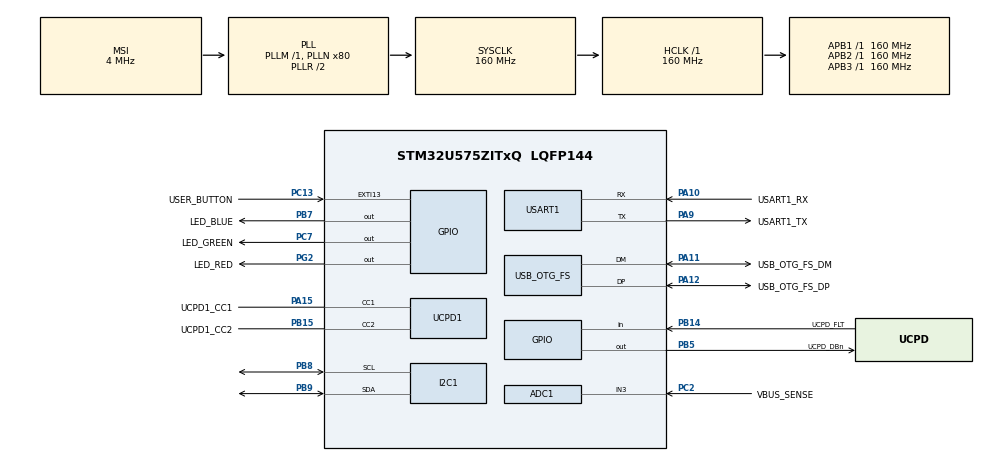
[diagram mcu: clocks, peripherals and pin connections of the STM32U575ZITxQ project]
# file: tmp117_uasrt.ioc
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ADC1.NbrOfConversion=1
ADC1.Resolution=ADC_RESOLUTION_14B
ADC1.master=1
CORTEX_M33_NS.userName=CORTEX_M33
I2C1.Timing=0x30909DEC
Mcu.Family=STM32U5
Mcu.Name=STM32U575ZITxQ
Mcu.Package=LQFP144
NVIC.OTG_FS_IRQn=true\:0\:0\:false\:false\:true\:true\:true\:true
NVIC.PriorityGroup=NVIC_PRIORITYGROUP_3
PA10.GPIO_Label=USART1_RX
PA10.GPIO_PuPd=GPIO_PULLDOWN
PA10.GPIO_Speed=GPIO_SPEED_FREQ_VERY_HIGH
PA10.Mode=Asynchronous
PA10.Signal=USART1_RX
PA11.GPIO_Label=USB_OTG_FS_DM
PA11.GPIO_Speed=GPIO_SPEED_FREQ_VERY_HIGH
PA11.Mode=Device_Only
PA11.Signal=USB_OTG_FS_DM
PA12.GPIO_Label=USB_OTG_FS_DP
PA12.GPIO_Speed=GPIO_SPEED_FREQ_VERY_HIGH
PA12.Mode=Device_Only
PA12.Signal=USB_OTG_FS_DP
PA13\ (JTMS/SWDIO).Mode=Trace_Asynchronous_SW
PA13\ (JTMS/SWDIO).Signal=DEBUG_JTMS-SWDIO
PA14\ (JTCK/SWCLK).Mode=Trace_Asynchronous_SW
PA14\ (JTCK/SWCLK).Signal=DEBUG_JTCK-SWCLK
PA15\ (JTDI).GPIO_Label=UCPD1_CC1
PA15\ (JTDI).Mode=Sink_AllSignals
PA15\ (JTDI).Signal=UCPD1_CC1
PA9.GPIO_Label=USART1_TX
PA9.GPIO_PuPd=GPIO_PULLDOWN
PA9.GPIO_Speed=GPIO_SPEED_FREQ_VERY_HIGH
PA9.Mode=Asynchronous
PA9.Signal=USART1_TX
PB14.GPIO_Label=UCPD_FLT
PB14.Signal=GPIO_Input
PB15.GPIO_Label=UCPD1_CC2
PB15.Mode=Sink_AllSignals
PB15.Signal=UCPD1_CC2
PB3\ (JTDO/TRACESWO).Mode=Trace_Asynchronous_SW
PB3\ (JTDO/TRACESWO).Signal=DEBUG_JTDO-SWO
PB5.GPIO_Label=UCPD_DBn
PB5.Signal=GPIO_Output
PB7.GPIO_Label=LED_BLUE
PB7.GPIO_ModeDefaultOutputPP=GPIO_MODE_OUTPUT_PP
PB7.GPIO_PuPd=GPIO_PULLUP
PB7.GPIO_Speed=GPIO_SPEED_FREQ_HIGH
PB7.Signal=GPIO_Output
PB8.Mode=I2C
PB8.Signal=I2C1_SCL
PB9.Mode=I2C
PB9.Signal=I2C1_SDA
PC13.GPIO_Label=USER_BUTTON
PC13.GPIO_ModeDefaultEXTI=GPIO_MODE_IT_FALLING
PC13.Signal=GPXTI13
PC14-OSC32_IN\ (PC14).Mode=LSE-External-Oscillator
PC14-OSC32_IN\ (PC14).Signal=RCC_OSC32_IN
PC15-OSC32_OUT\ (PC15).Mode=LSE-External-Oscillator
PC15-OSC32_OUT\ (PC15).Signal=RCC_OSC32_OUT
PC2.GPIO_Label=VBUS_SENSE
PC2.Mode=IN3-Single-Ended
PC2.Signal=ADC1_IN3
PC7.GPIO_Label=LED_GREEN
PC7.GPIO_PuPd=GPIO_PULLUP
PC7.GPIO_Speed=GPIO_SPEED_FREQ_HIGH
PC7.Signal=GPIO_Output
PG2.GPIO_Label=LED_RED
PG2.GPIO_ModeDefaultOutputPP=GPIO_MODE_OUTPUT_PP
PG2.GPIO_PuPd=GPIO_PULLUP
PG2.GPIO_Speed=GPIO_SPEED_FREQ_HIGH
PG2.Signal=GPIO_Output
PWR.PowerMode=PWR_SMPS_SUPPLY
ProjectManager.HeapSize=0x200
ProjectManager.StackSize=0x400
ProjectManager.TargetToolchain=STM32CubeIDE
RCC.ADCFreq_Value=16000000
RCC.AHBFreq_Value=160000000
RCC.APB1Freq_Value=160000000
RCC.APB1TimFreq_Value=160000000
RCC.APB2Freq_Value=160000000
RCC.APB2TimFreq_Value=160000000
RCC.APB3Freq_Value=160000000
RCC.CortexFreq_Value=160000000
RCC.DACCLockSelectionVirtual=RCC_DAC1CLKSOURCE_LSI
RCC.EPOD_VALUE=4000000
RCC.HCLKFreq_Value=160000000
RCC.HSE_VALUE=16000000
RCC.HSI48_VALUE=48000000
RCC.HSI_VALUE=16000000
RCC.LSIDIV_VALUE=32000
RCC.MSI_VALUE=4000000
RCC.PLLN=80
RCC.SYSCLKFreq_VALUE=160000000
RCC.SYSCLKSource=RCC_SYSCLKSOURCE_PLLCLK
RCC.USBFreq_Value=48000000
RCC.VCOOutputFreq_Value=320000000
USART1.VirtualMode-Asynchronous=VM_ASYNC
USB_OTG_FS.VirtualMode=Device_Only
VP_ICACHE_VS_ENABLE_ICACHE_MEMORY.Mode=Memoryregions
VP_ICACHE_VS_ICACHE.Mode=DirectMappedCache
VP_LPBAMQUEUE_VS_QUEUE.Mode=QUEUEMODE
VP_LPBAM_VS_SIG1.Mode=SmartRun
VP_LPBAM_VS_SIG4.Mode=LPDMA1
VP_MEMORYMAP_VS_MEMORYMAP.Mode=CurAppReg
VP_PWR_VS_DBSignals.Mode=DisableDeadBatterySignals
VP_PWR_VS_LPOM.Mode=PowerOptimisation
VP_PWR_VS_SECSignals.Mode=Security/Privilege
VP_PWR_Vdda.Mode=isolationVdda
board=NUCLEO-U575ZI-Q

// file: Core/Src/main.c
/* USER CODE BEGIN Header */
/**
  ******************************************************************************
  * @file           : main.c
  * @brief          : Main program body
  ******************************************************************************
  * @attention
  *
  * Copyright (c) 2024 STMicroelectronics.
  * All rights reserved.
  *
  * This software is licensed under terms that can be found in the LICENSE file
  * in the root directory of this software component.
  * If no LICENSE file comes with this software, it is provided AS-IS.
  *
  ******************************************************************************
  */
/* USER CODE END Header */
#include "main.h"
#include "adc.h"
#include "i2c.h"
#include "icache.h"
#include "memorymap.h"
#include "ucpd.h"
#include "usart.h"
#include "usb_otg.h"
#include "gpio.h"

/* USER CODE BEGIN Includes */
#include<stdio.h>
#include<string.h>
/* USER CODE END Includes */

/* USER CODE BEGIN PV */
static const uint8_t TEMPI2C_add = 0x48<<1;//100100x as mentioned in temp datasheet//shifted by 1 for sending last bit 0//read
static const uint8_t REG_temp = 0x00;
/* USER CODE END PV */

void SystemClock_Config(void);
static void SystemPower_Config(void);

int main(void)
{

  /* USER CODE BEGIN 1 */
	//initializing variables for receiving temp data
		//array buffer
		uint8_t buf[16];//for receiving temp data 16 bits as the receiving data is pf size  byte
		uint16_t val;//final data is of 2 bytes
		float temp_c;//for storing the final temp results
		HAL_StatusTypeDef ret;// inbulit HAL status return for I2C status
  /* USER CODE END 1 */

  /* MCU Configuration--------------------------------------------------------*/

  /* Reset of all peripherals, Initializes the Flash interface and the Systick. */
  HAL_Init();

  /* Configure the system clock */
  SystemClock_Config();

  /* Configure the System Power */
  SystemPower_Config();

  /* Initialize all configured peripherals */
  MX_GPIO_Init();
  MX_ADC1_Init();
  MX_ICACHE_Init();
  MX_UCPD1_Init();
  MX_USART1_UART_Init();
  MX_USB_OTG_FS_PCD_Init();
  MX_I2C1_Init();

  /* Infinite loop */
  /* USER CODE BEGIN WHILE */
  while (1)
  {
	  //step1 - i2C sending 0x00
	  	  buf[0]= REG_temp;//read instruction
	  	  ret = HAL_I2C_Master_Transmit(&hi2c1,TEMPI2C_add,buf,1,1000); //I2C init for transmitting data;
	  	  if(ret != HAL_OK)//checking if I2C transmit is done without error
	  	  {
	  		  strcpy((char*)buf,"ERROR_TX\r\n");//filling buf with error message
	  	  }
	  	  else{
	  	  ret = HAL_I2C_Master_Receive(&hi2c1,TEMPI2C_add,buf,2,HAL_MAX_DELAY); //I2C init for receiving data//2 byte of expected as per datasheet
	  	  if(ret != HAL_OK)//checking if I2C transmit is done without error
	  	 	  {
	  	 		  strcpy((char*)buf,"ERROR_RX\r\n");//filling buf with error message
	  	 	  }
	  	  else{
	  		  //processing received data into a single readable value
	  		  //typecasting to 16 bit int data
	  		 val = (uint16_t)(buf[0] << 8 | buf[1]);//val is a 16 bit data //thus shifting the buf value into val by shift opertion

	  		  //convertinf 2'complement value ,is temperature data is negative
	  		  if(val > 0x7FFF){
	  			  val |= 0xF000;
	  		  }
	  		  	//converting to float celcius value
	  		  	 temp_c = val * 0.0078125;//as mentioned in datasheet for convertion

	  		  	 //converting temp into decimal format
	  		  	temp_c =temp_c*100;//removing float point space
	  		  	 sprintf((char*)buf,"%u.%02u C\r\n",((unsigned int)temp_c / 100),((unsigned int)temp_c % 100));//copying the values of temp in buf to print in UART
	  		  	 //temp_c/100 gives quoficient of temp anad modulo gives the remainder ex. 22.34 C as output print
	  	  }

	  	  }
	  	  HAL_UART_Transmit(&huart1,buf,strlen((char*)buf),HAL_MAX_DELAY);//sending data through usart3 connected to serial in nucleo board
	  	  //delay before proceeding to next operation
	  	  HAL_Delay(500);

    /* USER CODE END WHILE */

  }
}

void SystemClock_Config(void)
{
  RCC_OscInitTypeDef RCC_OscInitStruct = {0};
  RCC_ClkInitTypeDef RCC_ClkInitStruct = {0};

  /** Configure the main internal regulator output voltage
  */
  if (HAL_PWREx_ControlVoltageScaling(PWR_REGULATOR_VOLTAGE_SCALE1) != HAL_OK)
  {
    Error_Handler();
  }

  /** Initializes the CPU, AHB and APB buses clocks
  */
  RCC_OscInitStruct.OscillatorType = RCC_OSCILLATORTYPE_HSI48|RCC_OSCILLATORTYPE_HSI
                              |RCC_OSCILLATORTYPE_MSI;
  RCC_OscInitStruct.HSIState = RCC_HSI_ON;
  RCC_OscInitStruct.HSI48State = RCC_HSI48_ON;
  RCC_OscInitStruct.HSICalibrationValue = RCC_HSICALIBRATION_DEFAULT;
  RCC_OscInitStruct.MSIState = RCC_MSI_ON;
  RCC_OscInitStruct.MSICalibrationValue = RCC_MSICALIBRATION_DEFAULT;
  RCC_OscInitStruct.MSIClockRange = RCC_MSIRANGE_4;
  RCC_OscInitStruct.PLL.PLLState = RCC_PLL_ON;
  RCC_OscInitStruct.PLL.PLLSource = RCC_PLLSOURCE_MSI;
  RCC_OscInitStruct.PLL.PLLMBOOST = RCC_PLLMBOOST_DIV1;
  RCC_OscInitStruct.PLL.PLLM = 1;
  RCC_OscInitStruct.PLL.PLLN = 80;
  RCC_OscInitStruct.PLL.PLLP = 2;
  RCC_OscInitStruct.PLL.PLLQ = 2;
  RCC_OscInitStruct.PLL.PLLR = 2;
  RCC_OscInitStruct.PLL.PLLRGE = RCC_PLLVCIRANGE_0;
  RCC_OscInitStruct.PLL.PLLFRACN = 0;
  if (HAL_RCC_OscConfig(&RCC_OscInitStruct) != HAL_OK)
  {
    Error_Handler();
  }

  /** Initializes the CPU, AHB and APB buses clocks
  */
  RCC_ClkInitStruct.ClockType = RCC_CLOCKTYPE_HCLK|RCC_CLOCKTYPE_SYSCLK
                              |RCC_CLOCKTYPE_PCLK1|RCC_CLOCKTYPE_PCLK2
                              |RCC_CLOCKTYPE_PCLK3;
  RCC_ClkInitStruct.SYSCLKSource = RCC_SYSCLKSOURCE_PLLCLK;
  RCC_ClkInitStruct.AHBCLKDivider = RCC_SYSCLK_DIV1;
  RCC_ClkInitStruct.APB1CLKDivider = RCC_HCLK_DIV1;
  RCC_ClkInitStruct.APB2CLKDivider = RCC_HCLK_DIV1;
  RCC_ClkInitStruct.APB3CLKDivider = RCC_HCLK_DIV1;

  if (HAL_RCC_ClockConfig(&RCC_ClkInitStruct, FLASH_LATENCY_4) != HAL_OK)
  {
    Error_Handler();
  }
}

/**
  * @brief Power Configuration
  * @retval None
  */
static void SystemPower_Config(void)
{
  HAL_PWREx_EnableVddIO2();

  /*
   * Switch to SMPS regulator instead of LDO
   */
  if (HAL_PWREx_ConfigSupply(PWR_SMPS_SUPPLY) != HAL_OK)
  {
    Error_Handler();
  }
}

void Error_Handler(void)
{
  __disable_irq();
  while (1)
  {
  }
}
